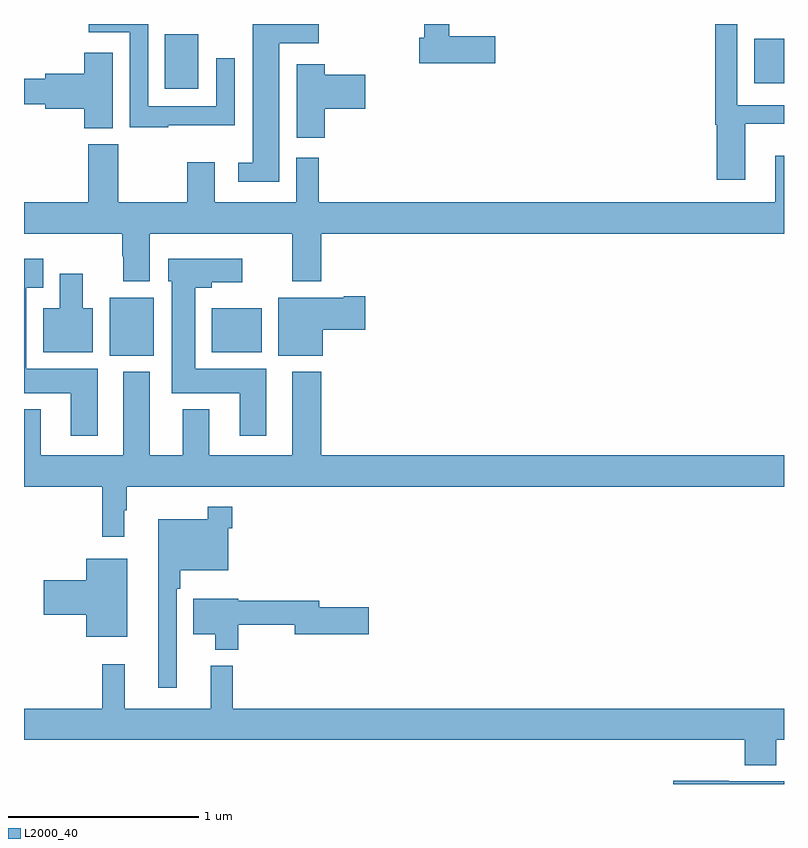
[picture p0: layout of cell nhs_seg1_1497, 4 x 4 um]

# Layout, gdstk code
import gdstk
lib = gdstk.Library(unit=1e-6, precision=1e-09)
def R(c, l, rs):  # rectangles x0, y0, x1, y1
    for r in rs: c.add(gdstk.rectangle(r[:2], r[2:], *l))
def P(c, l, *ps):  # polygons
    for p in ps: c.add(gdstk.Polygon(p, *l))
L2000_40 = (2000, 40)

nhs_seg1_1497 = lib.new_cell('nhs_seg1_1497')
R(nhs_seg1_1497, L2000_40, [(193.451,520.454,193.684,520.759), (193.988,520.472,194.251,520.702), (193.742,521.858,193.918,522.145), (196.844,521.888,197,522.121)])
P(nhs_seg1_1497, L2000_40, [(196.795,521.675),(197,521.675),(197,521.772),(196.755,521.772),(196.755,522.199),(196.639,522.199),(196.639,521.669),(196.646,521.669),(196.646,521.379),(196.795,521.379)],
  [(193.76,521.666),(194.109,521.666),(194.109,522.019),(194.013,522.019),(194.013,521.767),(193.653,521.767),(193.653,522.199),(193.341,522.199),(193.341,522.156),(193.557,522.156),(193.557,521.656),(193.76,521.656)],
  [(194.344,522.098),(194.551,522.098),(194.551,522.199),(194.204,522.199),(194.204,521.468),(194.127,521.468),(194.127,521.37),(194.344,521.37)],
  [(195.481,522.135),(195.239,522.135),(195.239,522.199),(195.107,522.199),(195.107,522.127),(195.08,522.127),(195.08,521.993),(195.481,521.993)],
  [(193.468,522.049),(193.316,522.049),(193.316,521.936),(193.112,521.936),(193.112,521.912),(193,521.912),(193,521.776),(193.112,521.776),(193.112,521.753),(193.316,521.753),(193.316,521.65),(193.468,521.65)],
  [(194.582,521.753),(194.797,521.753),(194.797,521.931),(194.582,521.931),(194.582,521.986),(194.435,521.986),(194.435,521.601),(194.582,521.601)],
  [(197,521.506),(196.955,521.506),(196.955,521.26),(194.551,521.26),(194.551,521.494),(194.432,521.494),(194.432,521.26),(194.005,521.26),(194.005,521.472),(193.858,521.472),(193.858,521.26),(193.497,521.26),(193.497,521.565),(193.337,521.565),(193.337,521.26),(193,521.26),(193,521.096),(193.516,521.096),(193.516,520.976),(193.523,520.976),(193.523,520.844),(193.663,520.844),(193.663,521.096),(194.411,521.096),(194.411,520.844),(194.564,520.844),(194.564,521.096),(197,521.096)],
  [(194.275,520.384),(193.9,520.384),(193.9,520.811),(193.987,520.811),(193.987,520.841),(194.149,520.841),(194.149,520.963),(193.76,520.963),(193.76,520.845),(193.778,520.845),(193.778,520.256),(194.135,520.256),(194.135,520.032),(194.275,520.032)],
  [(193.387,520.384),(193.012,520.384),(193.012,520.811),(193.102,520.811),(193.102,520.963),(193,520.963),(193,520.256),(193.247,520.256),(193.247,520.032),(193.387,520.032)],
  [(193.363,520.702),(193.309,520.702),(193.309,520.885),(193.187,520.885),(193.187,520.702),(193.1,520.702),(193.1,520.472),(193.363,520.472)],
  [(194.572,520.589),(194.797,520.589),(194.797,520.767),(194.684,520.767),(194.684,520.759),(194.339,520.759),(194.339,520.454),(194.572,520.454)],
  [(193.528,519.641),(193.54,519.641),(193.54,519.764),(197,519.764),(197,519.928),(194.564,519.928),(194.564,520.369),(194.411,520.369),(194.411,519.928),(193.975,519.928),(193.975,520.171),(193.835,520.171),(193.835,519.928),(193.663,519.928),(193.663,520.369),(193.523,520.369),(193.523,519.928),(193.087,519.928),(193.087,520.171),(193,520.171),(193,519.764),(193.411,519.764),(193.411,519.501),(193.528,519.501)],
  [(193.803,519.227),(193.823,519.227),(193.823,519.323),(194.076,519.323),(194.076,519.545),(194.096,519.545),(194.096,519.658),(193.968,519.658),(193.968,519.592),(193.706,519.592),(193.706,518.706),(193.803,518.706)],
  [(193.543,519.385),(193.328,519.385),(193.328,519.272),(193.104,519.272),(193.104,519.089),(193.328,519.089),(193.328,518.975),(193.543,518.975)],
  [(194.128,519.036),(194.426,519.036),(194.426,518.986),(194.815,518.986),(194.815,519.128),(194.554,519.128),(194.554,519.164),(194.128,519.164),(194.128,519.175),(193.892,519.175),(193.892,518.987),(194.006,518.987),(194.006,518.906),(194.128,518.906)],
  [(196.958,518.432),(197,518.432),(197,518.596),(194.099,518.596),(194.099,518.821),(193.982,518.821),(193.982,518.596),(193.529,518.596),(193.529,518.83),(193.411,518.83),(193.411,518.596),(193,518.596),(193,518.432),(196.793,518.432),(196.793,518.299),(196.958,518.299)],
  [(197,518.214),(196.709,518.214),(196.709,518.216),(196.417,518.216),(196.417,518.199),(197,518.199)])

lib.write_gds('nhs_seg1_1497.gds')
